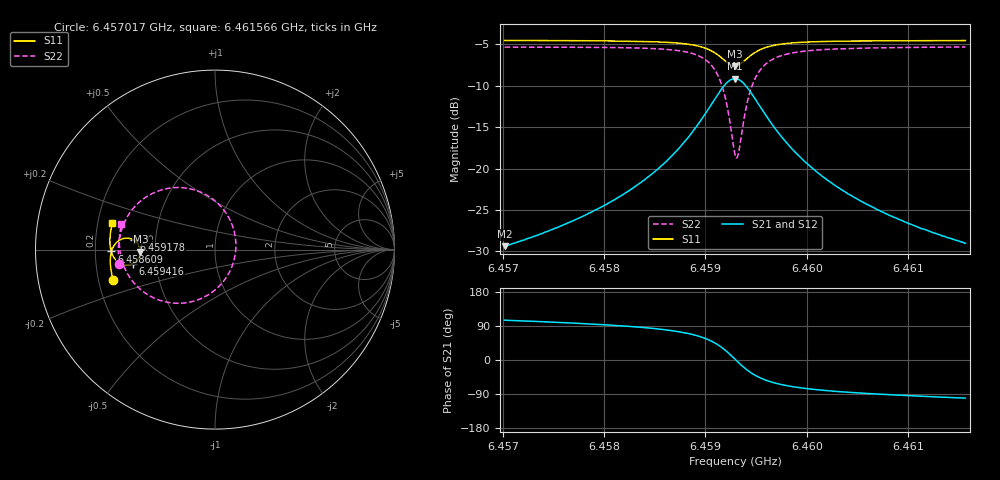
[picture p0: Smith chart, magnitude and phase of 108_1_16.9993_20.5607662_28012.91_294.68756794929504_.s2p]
#  HZ  S  RI  R  50.00
! Rohde & Schwarz Vector Network Analyzer
! Rohde-Schwarz,ZNB20-2Port,1311601062101988,3.16
! Created: UTC 3/20/2024, 10:56:54 PM
! freq[Hz]  re:S11  im:S11  re:S21  im:S21  re:S12  im:S12  re:S22  im:S22
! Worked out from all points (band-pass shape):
!   401 points, 6.457017 GHz to 6.461566 GHz, reference 50 ohm
!   highest |S21| = -9.15 dB at 6.459291 GHz (marker M1); lowest = -29.4 dB at 6.457017 GHz (marker M2)
!   |S21| within 3 dB of the highest: 6.459063 GHz to 6.459518 GHz (455.3 kHz wide, 0.00705 % of centre)
!   lowest |S11| = -7.6 dB at 6.459291 GHz (marker M3), VSWR 2.42, Z = 20.6 - j0.552 ohm
!   |S11| at or under -10 dB: nowhere
!   |S22| runs from -18.7 to -5.3 dB; largest |S21 - S12| = 0.014
!   S11 on the Smith chart (normalised r, x): 6.457017 GHz: 0.26, -0.14; 6.458609 GHz: 0.27, -0.01; 6.459178 GHz: 0.38, +0.05; 6.459416 GHz: 0.37, -0.07; 6.461566 GHz: 0.26, +0.12
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6.4570166e9  -0.5668 -0.1706  -0.00897 0.0328  -0.00715 0.0328  -0.5335 -0.0807
6.4577787e9  -0.5806 -0.1037  -0.00546 0.0509  -0.00291 0.0503  -0.5383 0.00909
6.4581768e9  -0.5835 -0.0637  5.06e-05 0.0692  0.00328 0.0679  -0.5306 0.072
6.4585407e9  -0.5794 -0.0201  0.0146 0.0996  0.0185 0.0969  -0.5037 0.1541
6.458609e9  -0.5772 -0.0106  0.02 0.108  0.0242 0.105  -0.4935 0.1741
6.4588023e9  -0.5644 0.02  0.0468 0.1394  0.051 0.1345  -0.4432 0.2435
6.4589502e9  -0.5414 0.0464  0.0928 0.1701  0.096 0.1634  -0.3585 0.3078
6.4590866e9  -0.4969 0.0638  0.181 0.1866  0.1819 0.1792  -0.1978 0.3457
6.4591776e9  -0.4518 0.0532  0.2717 0.1546  0.2721 0.1487  -0.0303 0.2938
6.4592459e9  -0.4225 0.0204  0.3325 0.0817  0.3348 0.0764  0.0851 0.1622
6.4592914e9  -0.4157 -0.0111  0.3487 0.013  0.3524 0.0061  0.1165 0.034
6.4593027e9  -0.4161 -0.0192  0.3483 -0.0049  0.3522 -0.0126  0.1158 0.000307
6.4593255e9  -0.4197 -0.0349  0.3424 -0.04  0.3463 -0.049  0.1041 -0.066
6.459371e9  -0.4354 -0.0614  0.3134 -0.1001  0.3156 -0.1121  0.0452 -0.1793
6.4594165e9  -0.458 -0.0778  0.2708 -0.1412  0.27 -0.1546  -0.0408 -0.2539
6.4595075e9  -0.5017 -0.0849  0.1851 -0.1722  0.1793 -0.1839  -0.2107 -0.2991
6.4596553e9  -0.546 -0.0644  0.097 -0.158  0.0883 -0.1642  -0.3787 -0.2487
6.4598146e9  -0.5678 -0.0367  0.0517 -0.1298  0.0441 -0.1328  -0.4592 -0.1762
6.4600534e9  -0.5808 -0.00134  0.0224 -0.0981  0.0166 -0.0986  -0.5072 -0.0934
6.4604174e9  -0.5855 0.0421  0.00569 -0.0696  0.00179 -0.0691  -0.5292 -0.00996
6.4608154e9  -0.5838 0.0821  -0.00142 -0.0523  -0.00426 -0.0515  -0.5329 0.0537
6.4615661e9  -0.572 0.1488  -0.00645 -0.0349  -0.0083 -0.0339  -0.5215 0.1428
